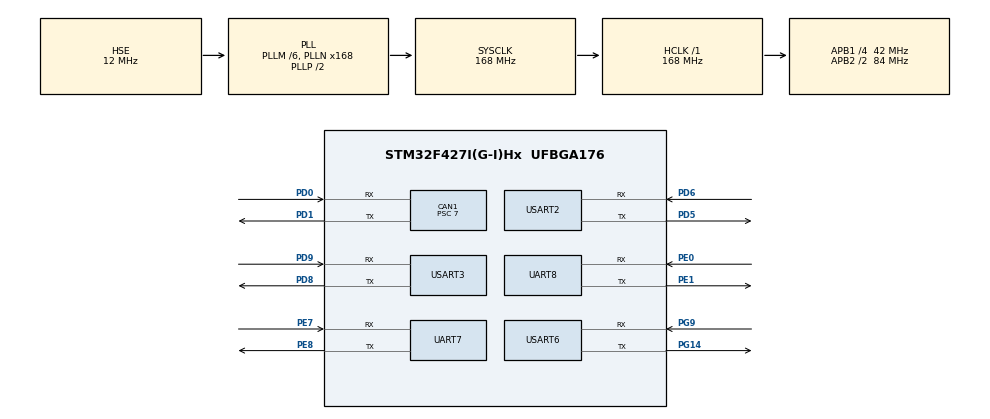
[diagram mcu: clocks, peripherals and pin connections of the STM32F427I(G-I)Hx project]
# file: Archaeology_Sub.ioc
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CAN1.ABOM=ENABLE
CAN1.AWUM=ENABLE
CAN1.BS1=CAN_BS1_2TQ
CAN1.BS2=CAN_BS2_3TQ
CAN1.CalculateBaudRate=1000000
CAN1.CalculateTimeBit=999.99
CAN1.CalculateTimeQuantum=166.66666666666669
CAN1.Mode=CAN_MODE_NORMAL
CAN1.Prescaler=7
CAN1.TXFP=ENABLE
Dma.Request0=USART2_TX
Dma.Request1=USART6_TX
Dma.Request2=UART7_TX
Dma.Request3=UART8_TX
Dma.UART7_TX.2.Direction=DMA_MEMORY_TO_PERIPH
Dma.UART7_TX.2.FIFOMode=DMA_FIFOMODE_DISABLE
Dma.UART7_TX.2.Instance=DMA1_Stream1
Dma.UART7_TX.2.MemDataAlignment=DMA_MDATAALIGN_BYTE
Dma.UART7_TX.2.MemInc=DMA_MINC_ENABLE
Dma.UART7_TX.2.Mode=DMA_NORMAL
Dma.UART7_TX.2.PeriphDataAlignment=DMA_PDATAALIGN_BYTE
Dma.UART7_TX.2.PeriphInc=DMA_PINC_DISABLE
Dma.UART7_TX.2.Priority=DMA_PRIORITY_LOW
Dma.UART8_TX.3.Direction=DMA_MEMORY_TO_PERIPH
Dma.UART8_TX.3.FIFOMode=DMA_FIFOMODE_DISABLE
Dma.UART8_TX.3.Instance=DMA1_Stream0
Dma.UART8_TX.3.MemDataAlignment=DMA_MDATAALIGN_BYTE
Dma.UART8_TX.3.MemInc=DMA_MINC_ENABLE
Dma.UART8_TX.3.Mode=DMA_NORMAL
Dma.UART8_TX.3.PeriphDataAlignment=DMA_PDATAALIGN_BYTE
Dma.UART8_TX.3.PeriphInc=DMA_PINC_DISABLE
Dma.UART8_TX.3.Priority=DMA_PRIORITY_LOW
Dma.USART2_TX.0.Direction=DMA_MEMORY_TO_PERIPH
Dma.USART2_TX.0.FIFOMode=DMA_FIFOMODE_DISABLE
Dma.USART2_TX.0.Instance=DMA1_Stream6
Dma.USART2_TX.0.MemDataAlignment=DMA_MDATAALIGN_BYTE
Dma.USART2_TX.0.MemInc=DMA_MINC_ENABLE
Dma.USART2_TX.0.Mode=DMA_NORMAL
Dma.USART2_TX.0.PeriphDataAlignment=DMA_PDATAALIGN_BYTE
Dma.USART2_TX.0.PeriphInc=DMA_PINC_DISABLE
Dma.USART2_TX.0.Priority=DMA_PRIORITY_LOW
Dma.USART6_TX.1.Direction=DMA_MEMORY_TO_PERIPH
Dma.USART6_TX.1.FIFOMode=DMA_FIFOMODE_DISABLE
Dma.USART6_TX.1.Instance=DMA2_Stream6
Dma.USART6_TX.1.MemDataAlignment=DMA_MDATAALIGN_BYTE
Dma.USART6_TX.1.MemInc=DMA_MINC_ENABLE
Dma.USART6_TX.1.Mode=DMA_NORMAL
Dma.USART6_TX.1.PeriphDataAlignment=DMA_PDATAALIGN_BYTE
Dma.USART6_TX.1.PeriphInc=DMA_PINC_DISABLE
Dma.USART6_TX.1.Priority=DMA_PRIORITY_LOW
Mcu.Family=STM32F4
Mcu.Name=STM32F427I(G-I)Hx
Mcu.Package=UFBGA176
NVIC.CAN1_RX0_IRQn=true\:0\:0\:false\:false\:true\:true\:true
NVIC.CAN1_TX_IRQn=true\:0\:0\:false\:false\:true\:true\:true
NVIC.DMA1_Stream0_IRQn=true\:0\:0\:false\:false\:true\:false\:true
NVIC.DMA1_Stream1_IRQn=true\:0\:0\:false\:false\:true\:false\:true
NVIC.DMA1_Stream6_IRQn=true\:0\:0\:false\:false\:true\:false\:true
NVIC.DMA2_Stream6_IRQn=true\:0\:0\:false\:false\:true\:false\:true
NVIC.PriorityGroup=NVIC_PRIORITYGROUP_4
NVIC.TIM7_IRQn=true\:0\:0\:false\:false\:true\:true\:true
NVIC.UART7_IRQn=true\:0\:0\:false\:false\:true\:true\:true
NVIC.UART8_IRQn=true\:0\:0\:false\:false\:true\:true\:true
NVIC.USART2_IRQn=true\:0\:0\:false\:false\:true\:true\:true
NVIC.USART3_IRQn=true\:0\:0\:false\:false\:true\:true\:true
NVIC.USART6_IRQn=true\:0\:0\:false\:false\:true\:true\:true
PA13.Mode=Serial_Wire
PA13.Signal=SYS_JTMS-SWDIO
PA14.Mode=Serial_Wire
PA14.Signal=SYS_JTCK-SWCLK
PD0.Mode=CAN_Activate
PD0.Signal=CAN1_RX
PD1.Mode=CAN_Activate
PD1.Signal=CAN1_TX
PD5.Mode=Asynchronous
PD5.Signal=USART2_TX
PD6.Mode=Asynchronous
PD6.Signal=USART2_RX
PD8.Mode=Asynchronous
PD8.Signal=USART3_TX
PD9.Mode=Asynchronous
PD9.Signal=USART3_RX
PE0.Mode=Asynchronous
PE0.Signal=UART8_RX
PE1.Mode=Asynchronous
PE1.Signal=UART8_TX
PE7.Mode=Asynchronous
PE7.Signal=UART7_RX
PE8.Mode=Asynchronous
PE8.Signal=UART7_TX
PG14.Mode=Asynchronous
PG14.Signal=USART6_TX
PG9.Mode=Asynchronous
PG9.Signal=USART6_RX
PH0/OSC_IN.Mode=HSE-External-Oscillator
PH0/OSC_IN.Signal=RCC_OSC_IN
PH1/OSC_OUT.Mode=HSE-External-Oscillator
PH1/OSC_OUT.Signal=RCC_OSC_OUT
ProjectManager.HeapSize=0x200
ProjectManager.StackSize=0x400
ProjectManager.TargetToolchain=MDK-ARM V5
RCC.48MHZClocksFreq_Value=84000000
RCC.AHBFreq_Value=168000000
RCC.APB1CLKDivider=RCC_HCLK_DIV4
RCC.APB1Freq_Value=42000000
RCC.APB1TimFreq_Value=84000000
RCC.APB2CLKDivider=RCC_HCLK_DIV2
RCC.APB2Freq_Value=84000000
RCC.APB2TimFreq_Value=168000000
RCC.CortexFreq_Value=168000000
RCC.HCLKFreq_Value=168000000
RCC.HSE_VALUE=12000000
RCC.HSI_VALUE=16000000
RCC.LSE_VALUE=32768
RCC.PLLM=6
RCC.PLLN=168
RCC.PLLSourceVirtual=RCC_PLLSOURCE_HSE
RCC.SYSCLKFreq_VALUE=168000000
RCC.SYSCLKSource=RCC_SYSCLKSOURCE_PLLCLK
RCC.VCOOutputFreq_Value=336000000
TIM7.Period=20000-1
TIM7.Prescaler=84-1
UART7.VirtualMode=Asynchronous
UART8.VirtualMode=Asynchronous
USART2.VirtualMode=VM_ASYNC
USART3.VirtualMode=VM_ASYNC
USART6.VirtualMode=VM_ASYNC
VP_TIM7_VS_ClockSourceINT.Mode=Enable_Timer
board=custom

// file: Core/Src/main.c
/* USER CODE BEGIN Header */
/**
  ******************************************************************************
  * @file           : main.c
  * @brief          : Main program body
  ******************************************************************************
  * @attention
  *
  * <h2><center>&copy; Copyright (c) 2021 STMicroelectronics.
  * All rights reserved.</center></h2>
  *
  * This software component is licensed by ST under BSD 3-Clause license,
  * the "License"; You may not use this file except in compliance with the
  * License. You may obtain a copy of the License at:
  *                        opensource.org/licenses/BSD-3-Clause
  *
  ******************************************************************************
  */
/* USER CODE END Header */
#include "main.h"
#include "can.h"
#include "dma.h"
#include "tim.h"
#include "usart.h"
#include "gpio.h"

/* USER CODE BEGIN Includes */
#include "USER_UART.h"
#include "USER_CAN.h"
#include "Crc.h"
/* USER CODE END Includes */

/* USER CODE BEGIN PTD */
uint8_t getCmd[]={0x50,0x03,0x00,0x34,0x00,0x01,0xc8,0x45};
uint8_t laser_tx_buff[8]={0x54};//发送串口缓冲区
/* USER CODE END PTD */

void SystemClock_Config(void);

/* USER CODE BEGIN 0 */
//定时器中断
void HAL_TIM_PeriodElapsedCallback(TIM_HandleTypeDef *htim)
{
	if(htim->Instance==htim7.Instance)
	{
		bool isPit[4]={laserValue[0]>cmpValue,laserValue[1]>cmpValue,laserValue[2]>cmpValue,laserValue[3]>cmpValue};
		if((isPit[0]&&!isPit[1]&&!isPit[2]&&isPit[3])||(!isPit[0]&&!isPit[1]&&!isPit[2]&&!isPit[3]))
		{
			laser_tx_buff[1]=0;
			laser_tx_buff[2]=0;
		}
		else if((isPit[0]&&isPit[1]&&!isPit[2]&&isPit[3]))
		{
			laser_tx_buff[1]=1;
			laser_tx_buff[2]=0;
		}
		else if((isPit[0]&&isPit[1]&&!isPit[2]&&!isPit[3]))
		{
			laser_tx_buff[1]=2;
			laser_tx_buff[2]=0;
		}
		else if((isPit[0]&&!isPit[1]&&isPit[2]&&isPit[3]))
		{
			laser_tx_buff[1]=0;
			laser_tx_buff[2]=1;
		}
		else if((!isPit[0]&&!isPit[1]&&isPit[2]&&isPit[3]))
		{
			laser_tx_buff[1]=0;
			laser_tx_buff[2]=2;
		}
		uint16_t crc=CRC_Calculate(laser_tx_buff,3);//进行crc计算
		laser_tx_buff[3]=crc>>8;
		laser_tx_buff[4]=crc;

		HAL_UART_Transmit_DMA(&huart2,getCmd,sizeof(getCmd));//发送回传激光数据命令
		HAL_UART_Transmit_DMA(&huart6,getCmd,sizeof(getCmd));
		HAL_UART_Transmit_DMA(&huart7,getCmd,sizeof(getCmd));
		HAL_UART_Transmit_DMA(&huart8,getCmd,sizeof(getCmd));
	}
}
/* USER CODE END 0 */

int main(void)
{

  /* MCU Configuration--------------------------------------------------------*/

  /* Reset of all peripherals, Initializes the Flash interface and the Systick. */
  HAL_Init();

  /* Configure the system clock */
  SystemClock_Config();

  /* Initialize all configured peripherals */
  MX_GPIO_Init();
  MX_DMA_Init();
  MX_TIM7_Init();
  MX_USART2_UART_Init();
  MX_USART6_UART_Init();
  MX_UART7_Init();
  MX_UART8_Init();
  MX_CAN1_Init();
  MX_USART3_UART_Init();
  /* USER CODE BEGIN 2 */
	USER_UART_Init();//开启串口接收中断
	USER_CAN_Init();
	HAL_TIM_Base_Start_IT(&htim7);//开启定时器中断
  /* USER CODE END 2 */

  /* Infinite loop */
  while (1)
  {

  }
}

void SystemClock_Config(void)
{
  RCC_OscInitTypeDef RCC_OscInitStruct = {0};
  RCC_ClkInitTypeDef RCC_ClkInitStruct = {0};

  /** Configure the main internal regulator output voltage
  */
  __HAL_RCC_PWR_CLK_ENABLE();
  __HAL_PWR_VOLTAGESCALING_CONFIG(PWR_REGULATOR_VOLTAGE_SCALE1);
  /** Initializes the RCC Oscillators according to the specified parameters
  * in the RCC_OscInitTypeDef structure.
  */
  RCC_OscInitStruct.OscillatorType = RCC_OSCILLATORTYPE_HSE;
  RCC_OscInitStruct.HSEState = RCC_HSE_ON;
  RCC_OscInitStruct.PLL.PLLState = RCC_PLL_ON;
  RCC_OscInitStruct.PLL.PLLSource = RCC_PLLSOURCE_HSE;
  RCC_OscInitStruct.PLL.PLLM = 6;
  RCC_OscInitStruct.PLL.PLLN = 168;
  RCC_OscInitStruct.PLL.PLLP = RCC_PLLP_DIV2;
  RCC_OscInitStruct.PLL.PLLQ = 4;
  if (HAL_RCC_OscConfig(&RCC_OscInitStruct) != HAL_OK)
  {
    Error_Handler();
  }
  /** Initializes the CPU, AHB and APB buses clocks
  */
  RCC_ClkInitStruct.ClockType = RCC_CLOCKTYPE_HCLK|RCC_CLOCKTYPE_SYSCLK
                              |RCC_CLOCKTYPE_PCLK1|RCC_CLOCKTYPE_PCLK2;
  RCC_ClkInitStruct.SYSCLKSource = RCC_SYSCLKSOURCE_PLLCLK;
  RCC_ClkInitStruct.AHBCLKDivider = RCC_SYSCLK_DIV1;
  RCC_ClkInitStruct.APB1CLKDivider = RCC_HCLK_DIV4;
  RCC_ClkInitStruct.APB2CLKDivider = RCC_HCLK_DIV2;

  if (HAL_RCC_ClockConfig(&RCC_ClkInitStruct, FLASH_LATENCY_5) != HAL_OK)
  {
    Error_Handler();
  }
}

void Error_Handler(void)
{
  __disable_irq();
  while (1)
  {
  }
}

/************************ (C) COPYRIGHT STMicroelectronics *****END OF FILE****/
